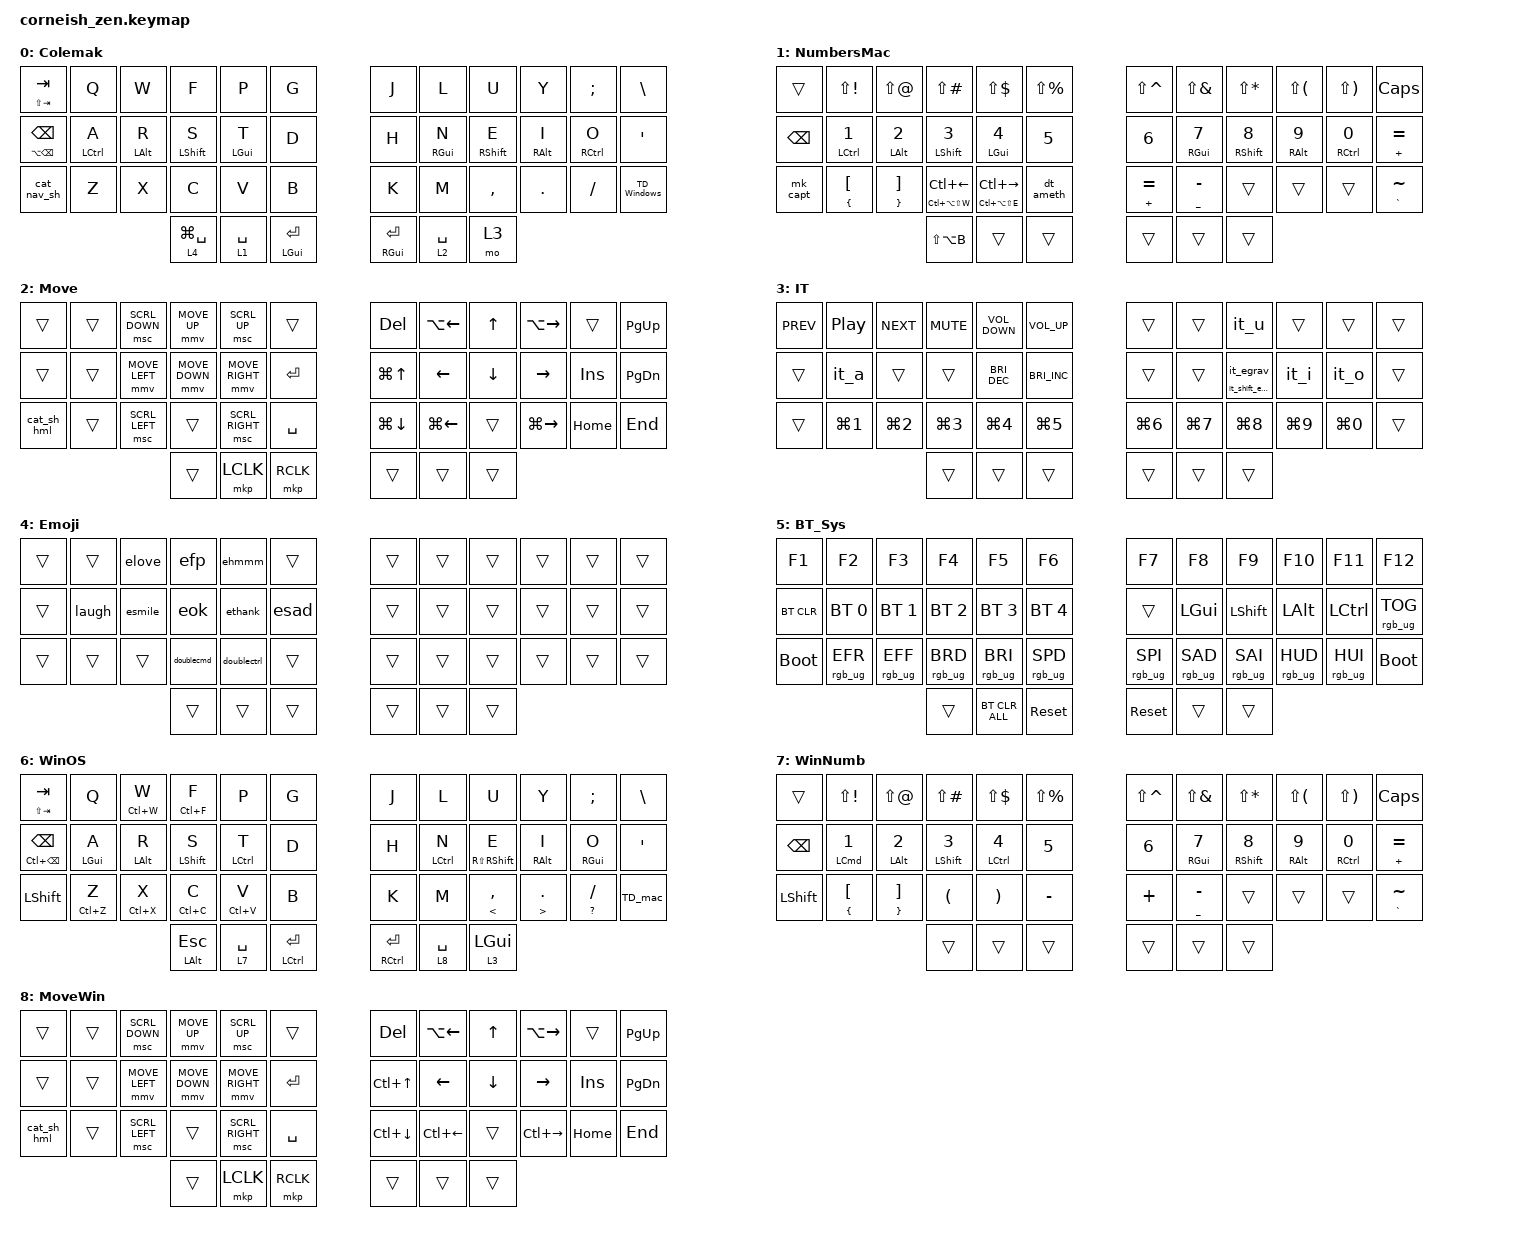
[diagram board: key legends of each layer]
#define ZMK_POINTING_DEFAULT_MOVE_VAL 1000  // default: 600
#define ZMK_POINTING_DEFAULT_SCRL_VAL 20    // default: 10

#include <behaviors.dtsi>
#include <dt-bindings/zmk/bt.h>
#include <dt-bindings/zmk/keys.h>
#include <dt-bindings/zmk/pointing.h>
#include <dt-bindings/zmk/rgb.h>

&mmv {
    acceleration-exponent = <2>;
    time-to-max-speed-ms = <200>;
};

/ {
    chosen {
        zmk,physical-layout = &foostan_corne_6col_layout;

        // zmk,physical-layout = &foostan_corne_5col_layout;
    };
};

/ {
    combos {
        compatible = "zmk,combos";

        EscapeGrave {
            bindings = <&gresc>;
            key-positions = <2 3>;
            timeout-ms = <30>;
            layers = <0 2 1 6>;
            require-prior-idle-ms = <50>;
        };

        Cut {
            bindings = <&kp LG(X)>;
            key-positions = <25 26>;
            timeout-ms = <30>;
            require-prior-idle-ms = <50>;
            layers = <0 1>;
        };

        Copy {
            bindings = <&kp LG(C)>;
            key-positions = <26 27>;
            timeout-ms = <30>;
            require-prior-idle-ms = <50>;
            layers = <0 1>;
        };

        Paste {
            bindings = <&kp LG(V)>;
            key-positions = <27 28>;
            timeout-ms = <30>;
            require-prior-idle-ms = <50>;
            layers = <0 1>;
        };

        Del {
            bindings = <&kp DELETE>;
            key-positions = <3 4>;
            timeout-ms = <30>;
            layers = <0 1 6 2>;
            require-prior-idle-ms = <50>;
        };

        toLayerZero {
            bindings = <&to 0>;
            key-positions = <24 25>;
            timeout-ms = <30>;
            require-prior-idle-ms = <50>;
            layers = <0 1 2 4 3>;
        };

        cmd_shift_left {
            bindings = <&kp LG(LEFT_SHIFT)>;
            key-positions = <16 15>;
            timeout-ms = <30>;
            require-prior-idle-ms = <50>;
            layers = <0>;
        };

        cmd_shift_right {
            bindings = <&kp RG(RIGHT_SHIFT)>;
            key-positions = <20 19>;
            timeout-ms = <30>;
            require-prior-idle-ms = <50>;
            layers = <0>;
        };

        LeftCtrlShift {
            bindings = <&kp LC(LEFT_SHIFT)>;
            key-positions = <16 15>;
            timeout-ms = <30>;
            require-prior-idle-ms = <50>;
            layers = <6>;
        };

        RightCtrlShift {
            bindings = <&kp RC(RIGHT_SHIFT)>;
            key-positions = <20 19>;
            timeout-ms = <30>;
            require-prior-idle-ms = <50>;
            layers = <6>;
        };

        LeftAltShift {
            bindings = <&kp LA(LEFT_SHIFT)>;
            key-positions = <15 14>;
            timeout-ms = <30>;
            require-prior-idle-ms = <50>;
            layers = <6>;
        };

        RightAltShift {
            bindings = <&kp RA(RIGHT_SHIFT)>;
            key-positions = <20 21>;
            timeout-ms = <30>;
            require-prior-idle-ms = <50>;
            layers = <6>;
        };
    };

    behaviors {
        ht_bck: ht_bck {
            compatible = "zmk,behavior-hold-tap";
            label = "HT_BCK";
            bindings = <&kp>, <&kp>;

            #binding-cells = <2>;
            hold-trigger-key-positions = <12>;
            tapping-term-ms = <145>;
            quick-tap-ms = <0>;
            require-prior-idle-ms = <140>;
            flavor = "balanced";
        };

        ht: ht {
            compatible = "zmk,behavior-hold-tap";
            label = "HT";
            bindings = <&kp>, <&kp>;

            #binding-cells = <2>;
            tapping-term-ms = <145>;
            quick-tap-ms = <50>;
            require-prior-idle-ms = <50>;
            flavor = "balanced";
        };

        as: as {
            compatible = "zmk,behavior-hold-tap";
            label = "AutoShift";
            bindings = <&kp>, <&kp>;

            #binding-cells = <2>;
            tapping-term-ms = <145>;
            quick-tap-ms = <50>;
            require-prior-idle-ms = <50>;
            flavor = "balanced";
        };

        lhmrow: lhmrow {
            compatible = "zmk,behavior-hold-tap";
            label = "LHMROW";
            bindings = <&kp>, <&kp>;

            #binding-cells = <2>;
            tapping-term-ms = <165>;
            quick-tap-ms = <30>;
            require-prior-idle-ms = <100>;
            flavor = "balanced";
            hold-trigger-key-positions = <6 7 8 9 10 11 18 19 20 21 22 23 30 31 32 33 34 35 40 41 39 36 37 38 28>;
        };

        rhmrow: rhmrow {
            compatible = "zmk,behavior-hold-tap";
            label = "RHMROW";
            bindings = <&kp>, <&kp>;

            #binding-cells = <2>;
            tapping-term-ms = <165>;
            quick-tap-ms = <30>;
            require-prior-idle-ms = <100>;
            flavor = "balanced";
            hold-trigger-key-positions = <0 1 2 3 4 5 12 13 14 15 16 17 24 25 26 27 28 29 36 37 38 39 40 41>;
        };

        mk_capt: mk_capt {
            compatible = "zmk,behavior-tap-dance";
            label = "MK_CAPT";
            #binding-cells = <0>;
            bindings =
                <&ht LS(LC(LG(NUMBER_4))) LG(LS(NUMBER_2))>,
                <&ht LS(LG(N5)) LS(LG(NUMBER_4))>;

            tapping-term-ms = <165>;
        };

        it_e: it_e {
            compatible = "zmk,behavior-hold-tap";
            label = "IT_E";
            bindings = <&it_shift_egrav>, <&it_egrav>;

            #binding-cells = <2>;
            tapping-term-ms = <145>;
            quick-tap-ms = <50>;
            require-prior-idle-ms = <50>;
            flavor = "balanced";
        };

        dt_ameth: dt_ameth {
            compatible = "zmk,behavior-tap-dance";
            label = "DT_AMETH";
            #binding-cells = <0>;
            bindings = <&kp LA(LS(O))>, <&kp LA(LS(D))>, <&kp LS(LA(J))>;

            tapping-term-ms = <165>;
        };

        cat_nav_sh: cat_nav_sh {
            compatible = "zmk,behavior-tap-dance";
            label = "CAT_NAV_SH";
            #binding-cells = <0>;
            bindings = <&ht LEFT_SHIFT LS(LA(LG(SLASH)))>, <&to 2>;

            tapping-term-ms = <200>;
        };

        cat_sh_hml: cat_sh_hml {
            compatible = "zmk,behavior-tap-dance";
            label = "CAT_SH_HML";
            #binding-cells = <0>;
            bindings = <&ht LEFT_SHIFT LS(LA(LG(SLASH)))>, <&to 0>;

            tapping-term-ms = <220>;
        };

        TD_Windows: TD_Windows {
            compatible = "zmk,behavior-tap-dance";
            label = "TD_WINDOWS";
            #binding-cells = <0>;
            bindings = <&kp RIGHT_SHIFT>, <&to 6>;
        };

        TD_mac: TD_mac {
            compatible = "zmk,behavior-tap-dance";
            label = "TD_MAC";
            #binding-cells = <0>;
            bindings = <&kp RIGHT_SHIFT>, <&to 0>;
        };
    };

    macros {
        it_egrav: it_egrav {
            compatible = "zmk,behavior-macro";
            #binding-cells = <0>;
            bindings = <&kp LA(LG(LC(I))) &kp LEFT_BRACKET &kp LC(LA(LG(E)))>;
            label = "IT_EGRAV";
            wait-ms = <30>;
            tap-ms = <0>;
        };

        it_shift_egrav: it_shift_egrav {
            compatible = "zmk,behavior-macro";
            #binding-cells = <0>;
            bindings = <&kp LA(LC(LG(I))) &kp LS(LEFT_BRACKET) &kp LA(LC(LG(E)))>;
            label = "IT_SHIFT_EGRAV";
            wait-ms = <30>;
        };

        it_i: it_i {
            compatible = "zmk,behavior-macro";
            #binding-cells = <0>;
            bindings = <&kp LA(LC(LG(I))) &kp EQUAL &kp LA(LC(LG(E)))>;
            label = "IT_I";
            wait-ms = <30>;
        };

        it_o: it_o {
            compatible = "zmk,behavior-macro";
            #binding-cells = <0>;
            bindings = <&kp LA(LC(LG(I))) &kp SEMICOLON &kp LA(LC(LG(E)))>;
            label = "IT_O";
            wait-ms = <30>;
        };

        it_u: it_u {
            compatible = "zmk,behavior-macro";
            #binding-cells = <0>;
            bindings = <&kp LA(LC(LG(I))) &kp BACKSLASH &kp LA(LC(LG(E)))>;
            label = "IT_U";
            wait-ms = <30>;
        };

        it_a: it_a {
            compatible = "zmk,behavior-macro";
            #binding-cells = <0>;
            bindings = <&kp LA(LC(LG(I))) &kp SQT &kp LA(LC(LG(E)))>;
            label = "IT_A";
            wait-ms = <30>;
        };

        efp: efp {
            compatible = "zmk,behavior-macro";
            #binding-cells = <0>;
            bindings = <&kp UNDER &kp F &kp P>;
            label = "EFP";
            wait-ms = <30>;
        };

        laugh: laugh {
            compatible = "zmk,behavior-macro";
            #binding-cells = <0>;
            bindings = <&kp UNDER &kp L &kp A>;
            label = "LAUGH";
            wait-ms = <30>;
        };

        eok: eok {
            compatible = "zmk,behavior-macro";
            #binding-cells = <0>;
            bindings = <&kp UNDER &kp O &kp K>;
            label = "EOK";
            wait-ms = <30>;
        };

        ethank: ethank {
            compatible = "zmk,behavior-macro";
            #binding-cells = <0>;
            bindings = <&kp UNDER &kp T &kp H>;
            label = "ETHANK";
            wait-ms = <30>;
        };

        esmile: esmile {
            compatible = "zmk,behavior-macro";
            #binding-cells = <0>;
            bindings = <&kp UNDER &kp S &kp M>;
            label = "ESMILE";
            wait-ms = <30>;
        };

        esad: esad {
            compatible = "zmk,behavior-macro";
            #binding-cells = <0>;
            bindings = <&kp UNDER &kp S &kp A &kp D>;
            label = "ESAD";
            wait-ms = <30>;
        };

        elove: elove {
            compatible = "zmk,behavior-macro";
            #binding-cells = <0>;
            bindings = <&kp UNDER &kp L &kp V>;
            label = "ELOVE";
            wait-ms = <30>;
        };

        ehmmm: ehmmm {
            compatible = "zmk,behavior-macro";
            #binding-cells = <0>;
            bindings = <&kp UNDER &kp H &kp M>;
            label = "EHMMM";
            wait-ms = <30>;
        };

        ecoffe: ecoffe {
            compatible = "zmk,behavior-macro";
            #binding-cells = <0>;
            bindings = <&kp UNDER &kp C &kp F>;
            label = "ECOFFE";
            wait-ms = <30>;
        };

        doublecmd: doublecmd {
            compatible = "zmk,behavior-macro";
            #binding-cells = <0>;
            bindings = <&kp LEFT_GUI &kp LEFT_GUI>;
            label = "DOUBLECMD";
            wait-ms = <20>;
        };

        doublectrl: doublectrl {
            compatible = "zmk,behavior-macro";
            #binding-cells = <0>;
            bindings = <&kp LCTRL &kp LCTRL>;
            label = "DOUBLECTRL";
            wait-ms = <20>;
        };
    };

    keymap {
        compatible = "zmk,keymap";

        Default {
            display-name = "Colemak";
            bindings = <
&as LS(TAB) TAB                  &kp Q            &kp W               &kp F                 &kp P               &kp G             &kp J                &kp L                &kp U                  &kp Y                &kp SEMICOLON    &kp BACKSLASH
&ht_bck LA(BACKSPACE) BACKSPACE  &lhmrow LCTRL A  &lhmrow LEFT_ALT R  &lhmrow LEFT_SHIFT S  &lhmrow LEFT_GUI T  &kp D             &kp H                &rhmrow RIGHT_GUI N  &rhmrow RIGHT_SHIFT E  &rhmrow RIGHT_ALT I  &rhmrow RCTRL O  &kp SQT
&cat_nav_sh                      &kp Z            &kp X               &kp C                 &kp V               &kp B             &kp K                &kp M                &kp COMMA              &kp DOT              &kp FSLH         &TD_Windows
                                                                      &lt 4 LG(SPACE)       &lt 1 SPACE         &ht LGUI ENTER    &ht RIGHT_GUI ENTER  &lt 2 SPACE          &mo 3
            >;

            label = "MacOS";
        };

        numbers {
            display-name = "NumbersMac";
            bindings = <
&trans         &kp LS(EXCL)                 &kp LS(AT)                     &kp LS(POUND)               &kp LS(DLLR)                 &kp LS(PRCNT)    &kp LS(CARET)   &kp LS(AMPS)          &kp LS(STAR)            &kp LS(LPAR)          &kp LS(RPAR)      &kp CAPSLOCK
&kp BACKSPACE  &lhmrow LCTRL N1             &lhmrow LEFT_ALT N2            &lhmrow LEFT_SHIFT N3       &lhmrow LEFT_GUI N4          &kp N5           &kp N6          &rhmrow RIGHT_GUI N7  &rhmrow RIGHT_SHIFT N8  &rhmrow RIGHT_ALT N9  &rhmrow RCTRL N0  &as PLUS EQUAL
&mk_capt       &ht LEFT_BRACE LEFT_BRACKET  &ht RIGHT_BRACE RIGHT_BRACKET  &ht LC(LA(LS(W))) LC(LEFT)  &ht LC(LA(LS(E))) LC(RIGHT)  &dt_ameth        &ht PLUS EQUAL  &ht UNDERSCORE MINUS  &trans                  &trans                &trans            &ht GRAVE TILDE
                                                                           &kp LS(LA(B))               &trans                       &trans           &trans          &trans                &trans
            >;

            label = "Numbers";
        };

        move {
            display-name = "Move";
            bindings = <
&trans       &trans  &msc SCRL_DOWN  &mmv MOVE_UP    &msc SCRL_UP     &trans       &kp DELETE        &kp LA(LEFT)  &kp UP    &kp LA(RIGHT)  &trans      &kp PAGE_UP
&trans       &trans  &mmv MOVE_LEFT  &mmv MOVE_DOWN  &mmv MOVE_RIGHT  &kp ENTER    &kp LG(UP_ARROW)  &kp LEFT      &kp DOWN  &kp RIGHT      &kp INSERT  &kp PAGE_DOWN
&cat_sh_hml  &trans  &msc SCRL_LEFT  &trans          &msc SCRL_RIGHT  &kp SPACE    &kp LG(DOWN)      &kp LG(LEFT)  &trans    &kp LG(RIGHT)  &kp HOME    &kp END
                                     &trans          &mkp LCLK        &mkp RCLK    &trans            &trans        &trans
            >;

            label = "Move";
        };

        Italian {
            display-name = "IT";
            bindings = <
&kp C_PREV  &kp C_PLAY_PAUSE  &kp C_NEXT  &kp C_MUTE  &kp K_VOLUME_DOWN     &kp K_VOLUME_UP         &trans      &trans      &it_u       &trans      &trans      &trans
&trans      &it_a             &trans      &trans      &kp C_BRIGHTNESS_DEC  &kp C_BRIGHTNESS_INC    &trans      &trans      &it_e 0 0   &it_i       &it_o       &trans
&trans      &kp LG(N1)        &kp LG(N2)  &kp LG(N3)  &kp LG(N4)            &kp LG(N5)              &kp LG(N6)  &kp LG(N7)  &kp LG(N8)  &kp LG(N9)  &kp LG(N0)  &trans
                                          &trans      &trans                &trans                  &trans      &trans      &trans
            >;

            label = "IT";
        };

        Emoji {
            display-name = "Emoji";
            bindings = <
&trans  &trans  &elove   &efp        &ehmmm       &trans    &trans  &trans  &trans  &trans  &trans  &trans
&trans  &laugh  &esmile  &eok        &ethank      &esad     &trans  &trans  &trans  &trans  &trans  &trans
&trans  &trans  &trans   &doublecmd  &doublectrl  &trans    &trans  &trans  &trans  &trans  &trans  &trans
                         &trans      &trans       &trans    &trans  &trans  &trans
            >;

            label = "Emoji";
        };

        Bt_Sys {
            display-name = "BT_Sys";
            bindings = <
&kp F1       &kp F2           &kp F3           &kp F4           &kp F5           &kp F6             &kp F7           &kp F8           &kp F9           &kp F10          &kp F11          &kp F12
&bt BT_CLR   &bt BT_SEL 0     &bt BT_SEL 1     &bt BT_SEL 2     &bt BT_SEL 3     &bt BT_SEL 4       &trans           &kp LEFT_GUI     &kp LEFT_SHIFT   &kp LEFT_ALT     &kp LCTRL        &rgb_ug RGB_TOG
&bootloader  &rgb_ug RGB_EFR  &rgb_ug RGB_EFF  &rgb_ug RGB_BRD  &rgb_ug RGB_BRI  &rgb_ug RGB_SPD    &rgb_ug RGB_SPI  &rgb_ug RGB_SAD  &rgb_ug RGB_SAI  &rgb_ug RGB_HUD  &rgb_ug RGB_HUI  &bootloader
                                               &trans           &bt BT_CLR_ALL   &sys_reset         &sys_reset       &trans           &trans
            >;

            label = "BT-SYS";
        };

        Windows {
            display-name = "WinOS";
            bindings = <
&ht LS(TAB) TAB                  &kp Q               &ht LC(W) W         &ht LC(F) F           &kp P            &kp G              &kp J            &kp L            &kp U                      &kp Y                    &kp SEMI            &kp BSLH
&ht_bck LC(BACKSPACE) BACKSPACE  &lhmrow LEFT_GUI A  &lhmrow LEFT_ALT R  &lhmrow LEFT_SHIFT S  &lhmrow LCTRL T  &kp D              &kp H            &rhmrow LCTRL N  &rhmrow RS(RIGHT_SHIFT) E  &rhmrow RIGHT_ALT I      &rhmrow RGUI O      &kp SQT
&kp LEFT_SHIFT                   &ht LC(Z) Z         &ht LC(X) X         &ht LC(C) C           &ht LC(V) V      &kp B              &kp K            &kp M            &ht LESS_THAN COMMA        &ht GREATER_THAN PERIOD  &ht QUESTION SLASH  &TD_mac
                                                                         &ht LEFT_ALT ESCAPE   &lt 7 SPACE      &ht LCTRL ENTER    &ht RCTRL ENTER  &lt 8 SPACE      &lt 3 LEFT_GUI
            >;

            label = "WinOS";
        };

        WinNumbers {
            label = "WinNumbers";
            display-name = "WinNumb";
            bindings = <
&trans         &kp LS(EXCL)                 &kp LS(AT)                     &kp LS(POUND)          &kp LS(DLLR)           &kp LS(PRCNT)    &kp LS(CARET)  &kp LS(AMPS)          &kp LS(STAR)            &kp LS(LPAR)          &kp LS(RPAR)      &kp CAPSLOCK
&kp BACKSPACE  &lhmrow LCMD N1              &lhmrow LEFT_ALT N2            &lhmrow LEFT_SHIFT N3  &lhmrow LCTRL N4       &kp N5           &kp N6         &rhmrow RIGHT_GUI N7  &rhmrow RIGHT_SHIFT N8  &rhmrow RIGHT_ALT N9  &rhmrow RCTRL N0  &as PLUS EQUAL
&kp LSHFT      &ht LEFT_BRACE LEFT_BRACKET  &ht RIGHT_BRACE RIGHT_BRACKET  &kp LEFT_PARENTHESIS   &kp RIGHT_PARENTHESIS  &kp MINUS        &kp PLUS       &ht UNDERSCORE MINUS  &trans                  &trans                &trans            &ht GRAVE TILDE
                                                                           &trans                 &trans                 &trans           &trans         &trans                &trans
            >;
        };

        MoveWin {
            label = "MoveWin";
            display-name = "MoveWin";
            bindings = <
&trans       &trans  &msc SCRL_DOWN  &mmv MOVE_UP    &msc SCRL_UP     &trans       &kp DELETE        &kp LA(LEFT)  &kp UP    &kp LA(RIGHT)  &trans      &kp PAGE_UP
&trans       &trans  &mmv MOVE_LEFT  &mmv MOVE_DOWN  &mmv MOVE_RIGHT  &kp ENTER    &kp LC(UP_ARROW)  &kp LEFT      &kp DOWN  &kp RIGHT      &kp INSERT  &kp PAGE_DOWN
&cat_sh_hml  &trans  &msc SCRL_LEFT  &trans          &msc SCRL_RIGHT  &kp SPACE    &kp LC(DOWN)      &kp LC(LEFT)  &trans    &kp LC(RIGHT)  &kp HOME    &kp END
                                     &trans          &mkp LCLK        &mkp RCLK    &trans            &trans        &trans
            >;
        };
    };

    conditional_layers {
        compatible = "zmk,conditional-layers";

        BT_Sys {
            if-layers = <3 4>;
            then-layer = <5>;
        };
    };
};
